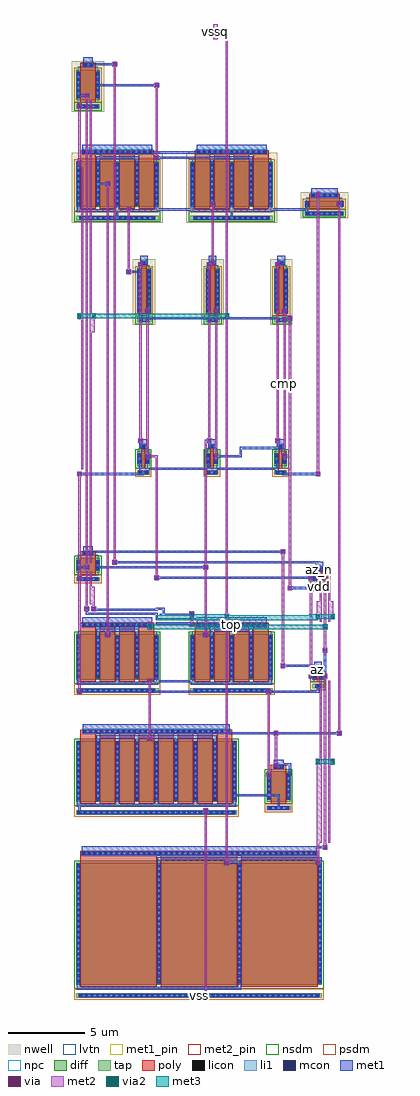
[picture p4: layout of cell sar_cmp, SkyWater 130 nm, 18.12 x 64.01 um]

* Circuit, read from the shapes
.subckt sar_cmp az az_n cmp top vdd vss vssq
XM1 vssq nfet_01v8_lvt_w0p42u_l0p15u_nf1_m1_10/D vssq vss sky130_fd_pr__nfet_01v8 w=8 l=5 m=3
XM2 nfet_01v8_w4u_l1u_nf1_m8_4/D nfet_01v8_w2u_l1u_nf1_m1_13/D vss vss sky130_fd_pr__nfet_01v8 w=4 l=1 m=8
XM3 nfet_01v8_lvt_w3u_l1u_nf1_m4_6/D nfet_01v8_lvt_w0p42u_l0p15u_nf1_m1_10/D nfet_01v8_w4u_l1u_nf1_m8_4/D vss sky130_fd_pr__nfet_01v8_lvt w=3 l=1 m=4
XM4 nfet_01v8_lvt_w1u_l1u_nf1_m1_14/D az top vss sky130_fd_pr__nfet_01v8_lvt w=1 l=1
XM5 nfet_01v8_lvt_w0p42u_l0p15u_nf1_m1_10/S nfet_01v8_lvt_w0p42u_l0p15u_nf1_m1_10/S vss vss sky130_fd_pr__nfet_01v8_lvt w=1 l=0.25
XM6 nfet_01v8_lvt_w1u_l1u_nf1_m1_14/D top nfet_01v8_w4u_l1u_nf1_m8_4/D vss sky130_fd_pr__nfet_01v8_lvt w=3 l=1 m=4
XM7 sar_stage_1_3/in nfet_01v8_lvt_w1u_l1u_nf1_m1_14/D vss vss sky130_fd_pr__nfet_01v8_lvt w=1 l=0.25
XM8 nfet_01v8_w2u_l1u_nf1_m1_13/D nfet_01v8_w2u_l1u_nf1_m1_13/D vss vss sky130_fd_pr__nfet_01v8 w=2 l=1
XM9 cmp sar_stage_1_3/in vss vss sky130_fd_pr__nfet_01v8_lvt w=1 l=0.25
XM10 nfet_01v8_lvt_w0p42u_l0p15u_nf1_m1_10/D az nfet_01v8_lvt_w0p42u_l0p15u_nf1_m1_10/S vss sky130_fd_pr__nfet_01v8_lvt w=0.42 l=0.15
XM11 nfet_01v8_lvt_w3u_l1u_nf1_m4_6/D nfet_01v8_lvt_w3u_l1u_nf1_m4_6/D vdd vdd sky130_fd_pr__pfet_01v8_lvt w=3 l=1 m=4
XM12 nfet_01v8_lvt_w1u_l1u_nf1_m1_14/D az_n top vdd sky130_fd_pr__pfet_01v8_lvt w=2 l=1
XM13 nfet_01v8_lvt_w0p42u_l0p15u_nf1_m1_10/S nfet_01v8_lvt_w0p42u_l0p15u_nf1_m1_10/S vdd vdd sky130_fd_pr__pfet_01v8_lvt w=3 l=0.35
XM14 nfet_01v8_lvt_w1u_l1u_nf1_m1_14/D nfet_01v8_lvt_w3u_l1u_nf1_m4_6/D vdd vdd sky130_fd_pr__pfet_01v8_lvt w=3 l=1 m=4
XM15 sar_stage_1_3/in nfet_01v8_lvt_w1u_l1u_nf1_m1_14/D vdd vdd sky130_fd_pr__pfet_01v8_lvt w=3 l=0.35
XM16 cmp sar_stage_1_3/in vdd vdd sky130_fd_pr__pfet_01v8_lvt w=3 l=0.35
XM17 nfet_01v8_w2u_l1u_nf1_m1_13/D vss vdd vdd sky130_fd_pr__pfet_01v8_lvt w=0.42 l=2
XM18 nfet_01v8_lvt_w0p42u_l0p15u_nf1_m1_10/D az_n nfet_01v8_lvt_w0p42u_l0p15u_nf1_m1_10/S vdd sky130_fd_pr__pfet_01v8_lvt w=0.42 l=0.35
.ends

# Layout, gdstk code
import gdstk
lib = gdstk.Library(unit=1e-6, precision=1e-09)
def R(c, l, rs):  # rectangles x0, y0, x1, y1
    for r in rs: c.add(gdstk.rectangle(r[:2], r[2:], *l))
def A(c, l, x, y, w, h, nx, ny, dx, dy):  # array of equal rectangles
    R(c, l, [(x+i*dx, y+j*dy, x+i*dx+w, y+j*dy+h) for i in range(nx) for j in range(ny)])
nwell = (64, 20)
diff = (65, 20)
tap = (65, 44)
poly = (66, 20)
licon = (66, 44)
li1 = (67, 20)
mcon = (67, 44)
met1_pin = (68, 16)
met1 = (68, 20)
via = (68, 44)
met2_pin = (69, 16)
met2 = (69, 20)
via2 = (69, 44)
met3 = (70, 20)
nsdm = (93, 44)
psdm = (94, 20)
npc = (95, 20)
lvtn = (125, 44)

pfet_01v8_lvt_w2u_l1u_nf = lib.new_cell('pfet_01v8_lvt_w2u_l1u_nf1_m1')
R(pfet_01v8_lvt_w2u_l1u_nf, nwell, [(-0.275,-0.74,1.845,2.56), (-0.18,-0.74,1.75,2.18)])
R(pfet_01v8_lvt_w2u_l1u_nf, diff, [(0,0,1.57,2)])
R(pfet_01v8_lvt_w2u_l1u_nf, tap, [(0,-0.56,1.57,-0.27)])
R(pfet_01v8_lvt_w2u_l1u_nf, poly, [(0.285,-0.13,1.285,2.185), (0.285,2.185,1.285,2.455)])
A(pfet_01v8_lvt_w2u_l1u_nf, licon, 0.16, -0.5, 0.17, 0.17, 4, 1, 0.36, 0)
A(pfet_01v8_lvt_w2u_l1u_nf, licon, 0.06, 0.195, 0.17, 0.17, 1, 5, 0, 0.36)
A(pfet_01v8_lvt_w2u_l1u_nf, licon, 1.34, 0.195, 0.17, 0.17, 1, 5, 0, 0.36)
R(pfet_01v8_lvt_w2u_l1u_nf, licon, [(0.52,2.235,0.69,2.405), (0.88,2.235,1.05,2.405)])
R(pfet_01v8_lvt_w2u_l1u_nf, li1, [(0.08,-0.5,1.49,-0.33), (0.06,0.115,0.23,1.885), (1.34,0.115,1.51,1.885), (0.44,2.235,1.13,2.405)])
A(pfet_01v8_lvt_w2u_l1u_nf, mcon, 0.16, -0.5, 0.17, 0.17, 4, 1, 0.36, 0)
A(pfet_01v8_lvt_w2u_l1u_nf, mcon, 0.06, 0.195, 0.17, 0.17, 1, 5, 0, 0.36)
A(pfet_01v8_lvt_w2u_l1u_nf, mcon, 1.34, 0.195, 0.17, 0.17, 1, 5, 0, 0.36)
R(pfet_01v8_lvt_w2u_l1u_nf, mcon, [(0.52,2.235,0.69,2.405), (0.88,2.235,1.05,2.405)])
R(pfet_01v8_lvt_w2u_l1u_nf, met1_pin, [(0.1,-0.53,1.47,-0.3), (0.03,0.135,0.26,1.865), (1.31,0.135,1.54,1.865), (0.46,2.205,1.11,2.805)])
R(pfet_01v8_lvt_w2u_l1u_nf, met1, [(0.1,-0.53,1.47,-0.3), (0.03,0.135,0.26,1.865), (1.31,0.135,1.54,1.865), (0.46,2.205,1.11,2.805)])
R(pfet_01v8_lvt_w2u_l1u_nf, nsdm, [(-0.125,-0.685,1.695,-0.135)])
R(pfet_01v8_lvt_w2u_l1u_nf, psdm, [(-0.125,-0.135,1.695,2.125)])
R(pfet_01v8_lvt_w2u_l1u_nf, npc, [(0.42,2.135,1.15,2.505)])
R(pfet_01v8_lvt_w2u_l1u_nf, lvtn, [(0.105,-0.18,1.465,2.18)])
pfet_01v8_lvt_w2u_l1u_nf.add(gdstk.Label('B', (0.785,-0.415), layer=68, texttype=16))
pfet_01v8_lvt_w2u_l1u_nf.add(gdstk.Label('G', (0.785,2.505), layer=68, texttype=16))
pfet_01v8_lvt_w2u_l1u_nf.add(gdstk.Label('D', (1.425,1), layer=68, texttype=16))
pfet_01v8_lvt_w2u_l1u_nf.add(gdstk.Label('S', (0.145,1), layer=68, texttype=16))

pfet_01v8_lvt_w0p42u_l2u = lib.new_cell('pfet_01v8_lvt_w0p42u_l2u_nf1_m1')
R(pfet_01v8_lvt_w0p42u_l2u, nwell, [(-0.275,-0.74,2.845,0.98), (-0.18,-0.74,2.75,0.6)])
R(pfet_01v8_lvt_w0p42u_l2u, diff, [(0,0,2.57,0.42)])
R(pfet_01v8_lvt_w0p42u_l2u, tap, [(0,-0.56,2.57,-0.27)])
R(pfet_01v8_lvt_w0p42u_l2u, poly, [(0.285,-0.13,2.285,0.605), (0.285,0.605,2.285,0.875)])
A(pfet_01v8_lvt_w0p42u_l2u, licon, 0.12, -0.5, 0.17, 0.17, 7, 1, 0.36, 0)
A(pfet_01v8_lvt_w0p42u_l2u, licon, 0.48, 0.655, 0.17, 0.17, 5, 1, 0.36, 0)
R(pfet_01v8_lvt_w0p42u_l2u, licon, [(0.06,0.125,0.23,0.295), (2.34,0.125,2.51,0.295)])
R(pfet_01v8_lvt_w0p42u_l2u, li1, [(0.04,-0.5,2.53,-0.33), (0.06,0.045,0.23,0.375), (2.34,0.045,2.51,0.375), (0.4,0.655,2.17,0.825)])
A(pfet_01v8_lvt_w0p42u_l2u, mcon, 0.12, -0.5, 0.17, 0.17, 7, 1, 0.36, 0)
A(pfet_01v8_lvt_w0p42u_l2u, mcon, 0.48, 0.655, 0.17, 0.17, 5, 1, 0.36, 0)
R(pfet_01v8_lvt_w0p42u_l2u, mcon, [(0.06,0.125,0.23,0.295), (2.34,0.125,2.51,0.295)])
R(pfet_01v8_lvt_w0p42u_l2u, met1_pin, [(0.06,-0.53,2.51,-0.3), (0.03,0.025,0.26,0.395), (2.31,0.025,2.54,0.395), (0.42,0.625,2.15,1.225)])
R(pfet_01v8_lvt_w0p42u_l2u, met1, [(0.06,-0.53,2.51,-0.3), (0.03,0.025,0.26,0.395), (2.31,0.025,2.54,0.395), (0.42,0.625,2.15,1.225)])
R(pfet_01v8_lvt_w0p42u_l2u, nsdm, [(-0.125,-0.685,2.695,-0.135)])
R(pfet_01v8_lvt_w0p42u_l2u, psdm, [(-0.125,-0.135,2.695,0.545)])
R(pfet_01v8_lvt_w0p42u_l2u, npc, [(0.38,0.555,2.19,0.925)])
R(pfet_01v8_lvt_w0p42u_l2u, lvtn, [(0.105,-0.18,2.465,0.6)])
pfet_01v8_lvt_w0p42u_l2u.add(gdstk.Label('B', (1.285,-0.415), layer=68, texttype=16))
pfet_01v8_lvt_w0p42u_l2u.add(gdstk.Label('G', (1.285,0.925), layer=68, texttype=16))
pfet_01v8_lvt_w0p42u_l2u.add(gdstk.Label('D', (2.425,0.21), layer=68, texttype=16))
pfet_01v8_lvt_w0p42u_l2u.add(gdstk.Label('S', (0.145,0.21), layer=68, texttype=16))

nfet_01v8_w8u_l5u_nf1_m3 = lib.new_cell('nfet_01v8_w8u_l5u_nf1_m3')
R(nfet_01v8_w8u_l5u_nf1_m3, diff, [(0,0,16.13,8)])
R(nfet_01v8_w8u_l5u_nf1_m3, tap, [(0,-0.86,16.13,-0.57)])
A(nfet_01v8_w8u_l5u_nf1_m3, poly, 0.285, -0.13, 5, 8.59, 3, 1, 5.28, 0)
R(nfet_01v8_w8u_l5u_nf1_m3, poly, [(0.285,8.46,15.845,8.73)])
A(nfet_01v8_w8u_l5u_nf1_m3, licon, 0.24, -0.8, 0.17, 0.17, 44, 1, 0.36, 0)
A(nfet_01v8_w8u_l5u_nf1_m3, licon, 0.06, 0.135, 0.17, 0.17, 4, 22, 5.28, 0.36)
A(nfet_01v8_w8u_l5u_nf1_m3, licon, 0.42, 8.51, 0.17, 0.17, 43, 1, 0.36, 0)
A(nfet_01v8_w8u_l5u_nf1_m3, li1, 0.06, 0.055, 0.17, 7.89, 4, 1, 5.28, 0)
R(nfet_01v8_w8u_l5u_nf1_m3, li1, [(0.16,-0.8,15.97,-0.63), (0.34,8.51,15.79,8.68)])
A(nfet_01v8_w8u_l5u_nf1_m3, mcon, 0.24, -0.8, 0.17, 0.17, 44, 1, 0.36, 0)
A(nfet_01v8_w8u_l5u_nf1_m3, mcon, 0.06, 0.135, 0.17, 0.17, 4, 22, 5.28, 0.36)
A(nfet_01v8_w8u_l5u_nf1_m3, mcon, 0.42, 8.51, 0.17, 0.17, 43, 1, 0.36, 0)
R(nfet_01v8_w8u_l5u_nf1_m3, met1_pin, [(0.18,-0.83,15.95,-0.6), (0.03,-0.34,10.82,-0.14), (5.31,8.14,16.1,8.34), (0.36,8.48,15.77,9.08)])
R(nfet_01v8_w8u_l5u_nf1_m3, met1, [(0.18,-0.83,15.95,-0.6), (0.03,-0.34,10.82,-0.14), (0.03,-0.34,0.26,7.925), (10.59,-0.34,10.82,7.925), (5.31,0.075,5.54,8.34), (15.87,0.075,16.1,8.34), (5.31,8.14,16.1,8.34), (0.36,8.48,15.77,9.08)])
R(nfet_01v8_w8u_l5u_nf1_m3, nsdm, [(-0.125,-0.285,16.255,8.125)])
R(nfet_01v8_w8u_l5u_nf1_m3, psdm, [(-0.125,-0.985,16.255,-0.285)])
R(nfet_01v8_w8u_l5u_nf1_m3, npc, [(0.32,8.41,15.81,8.78)])
nfet_01v8_w8u_l5u_nf1_m3.add(gdstk.Label('B', (8.065,-0.715), layer=68, texttype=16))
nfet_01v8_w8u_l5u_nf1_m3.add(gdstk.Label('G', (8.065,8.78), layer=68, texttype=16))
nfet_01v8_w8u_l5u_nf1_m3.add(gdstk.Label('D', (10.705,8.24), layer=68, texttype=16))
nfet_01v8_w8u_l5u_nf1_m3.add(gdstk.Label('S', (5.425,-0.24), layer=68, texttype=16))

pfet_01v8_lvt_w3u_l0p35u = lib.new_cell('pfet_01v8_lvt_w3u_l0p35u_nf1_m1')
R(pfet_01v8_lvt_w3u_l0p35u, nwell, [(-0.275,-0.74,1.195,3.56), (-0.18,-0.74,1.1,3.18)])
R(pfet_01v8_lvt_w3u_l0p35u, diff, [(0,0,0.92,3)])
R(pfet_01v8_lvt_w3u_l0p35u, tap, [(0,-0.56,0.92,-0.27)])
R(pfet_01v8_lvt_w3u_l0p35u, poly, [(0.285,-0.13,0.635,3.185), (0.285,3.185,0.635,3.455)])
A(pfet_01v8_lvt_w3u_l0p35u, licon, 0.06, 0.155, 0.17, 0.17, 1, 8, 0, 0.36)
A(pfet_01v8_lvt_w3u_l0p35u, licon, 0.69, 0.155, 0.17, 0.17, 1, 8, 0, 0.36)
R(pfet_01v8_lvt_w3u_l0p35u, licon, [(0.195,-0.5,0.365,-0.33), (0.555,-0.5,0.725,-0.33), (0.375,3.235,0.545,3.405)])
R(pfet_01v8_lvt_w3u_l0p35u, li1, [(0.115,-0.5,0.805,-0.33), (0.06,0.075,0.23,2.925), (0.69,0.075,0.86,2.925), (0.295,3.235,0.625,3.405)])
A(pfet_01v8_lvt_w3u_l0p35u, mcon, 0.06, 0.155, 0.17, 0.17, 1, 8, 0, 0.36)
A(pfet_01v8_lvt_w3u_l0p35u, mcon, 0.69, 0.155, 0.17, 0.17, 1, 8, 0, 0.36)
R(pfet_01v8_lvt_w3u_l0p35u, mcon, [(0.195,-0.5,0.365,-0.33), (0.555,-0.5,0.725,-0.33), (0.375,3.235,0.545,3.405)])
R(pfet_01v8_lvt_w3u_l0p35u, met1_pin, [(0.135,-0.53,0.785,-0.3), (0.03,0.095,0.26,2.905), (0.66,0.095,0.89,2.905), (0.21,3.205,0.71,3.805)])
R(pfet_01v8_lvt_w3u_l0p35u, met1, [(0.135,-0.53,0.785,-0.3), (0.03,0.095,0.26,2.905), (0.66,0.095,0.89,2.905), (0.21,3.205,0.71,3.805)])
R(pfet_01v8_lvt_w3u_l0p35u, nsdm, [(-0.125,-0.685,1.045,-0.135)])
R(pfet_01v8_lvt_w3u_l0p35u, psdm, [(-0.125,-0.135,1.045,3.125)])
R(pfet_01v8_lvt_w3u_l0p35u, npc, [(0.275,3.135,0.645,3.505)])
R(pfet_01v8_lvt_w3u_l0p35u, lvtn, [(0.105,-0.18,0.815,3.18)])
pfet_01v8_lvt_w3u_l0p35u.add(gdstk.Label('B', (0.46,-0.415), layer=68, texttype=16))
pfet_01v8_lvt_w3u_l0p35u.add(gdstk.Label('G', (0.46,3.505), layer=68, texttype=16))
pfet_01v8_lvt_w3u_l0p35u.add(gdstk.Label('D', (0.775,1.5), layer=68, texttype=16))
pfet_01v8_lvt_w3u_l0p35u.add(gdstk.Label('S', (0.145,1.5), layer=68, texttype=16))

nfet_01v8_lvt_w1u_l0p25u = lib.new_cell('nfet_01v8_lvt_w1u_l0p25u_nf1_m1')
R(nfet_01v8_lvt_w1u_l0p25u, diff, [(0,0,0.82,1)])
R(nfet_01v8_lvt_w1u_l0p25u, tap, [(0,-0.56,0.82,-0.27)])
R(nfet_01v8_lvt_w1u_l0p25u, poly, [(0.285,-0.13,0.535,1.14), (0.245,1.14,0.575,1.41)])
R(nfet_01v8_lvt_w1u_l0p25u, licon, [(0.145,-0.5,0.315,-0.33), (0.505,-0.5,0.675,-0.33), (0.06,0.235,0.23,0.405), (0.59,0.235,0.76,0.405), (0.06,0.595,0.23,0.765), (0.59,0.595,0.76,0.765), (0.325,1.19,0.495,1.36)])
R(nfet_01v8_lvt_w1u_l0p25u, li1, [(0.065,-0.5,0.755,-0.33), (0.06,0.155,0.23,0.845), (0.59,0.155,0.76,0.845), (0.245,1.19,0.575,1.36)])
R(nfet_01v8_lvt_w1u_l0p25u, mcon, [(0.145,-0.5,0.315,-0.33), (0.505,-0.5,0.675,-0.33), (0.06,0.235,0.23,0.405), (0.59,0.235,0.76,0.405), (0.06,0.595,0.23,0.765), (0.59,0.595,0.76,0.765), (0.325,1.19,0.495,1.36)])
R(nfet_01v8_lvt_w1u_l0p25u, met1_pin, [(0.085,-0.53,0.735,-0.3), (0.03,0.175,0.26,0.825), (0.56,0.175,0.79,0.825), (0.16,1.16,0.66,1.76)])
R(nfet_01v8_lvt_w1u_l0p25u, met1, [(0.085,-0.53,0.735,-0.3), (0.03,0.175,0.26,0.825), (0.56,0.175,0.79,0.825), (0.16,1.16,0.66,1.76)])
R(nfet_01v8_lvt_w1u_l0p25u, nsdm, [(-0.125,-0.135,0.945,1.125)])
R(nfet_01v8_lvt_w1u_l0p25u, psdm, [(-0.125,-0.685,0.945,-0.135)])
R(nfet_01v8_lvt_w1u_l0p25u, npc, [(0.225,1.09,0.595,1.46)])
R(nfet_01v8_lvt_w1u_l0p25u, lvtn, [(0.105,-0.18,0.715,1.18)])
nfet_01v8_lvt_w1u_l0p25u.add(gdstk.Label('B', (0.41,-0.415), layer=68, texttype=16))
nfet_01v8_lvt_w1u_l0p25u.add(gdstk.Label('G', (0.41,1.46), layer=68, texttype=16))
nfet_01v8_lvt_w1u_l0p25u.add(gdstk.Label('D', (0.675,0.5), layer=68, texttype=16))
nfet_01v8_lvt_w1u_l0p25u.add(gdstk.Label('S', (0.145,0.5), layer=68, texttype=16))

sar_stage_1 = lib.new_cell('sar_stage_1')
R(sar_stage_1, met1, [(0.16,-10.44,0.3,-9.96), (0.16,-10.1,0.3,-9.62), (0.53,-9.48,0.85,-9.22), (0.07,-8.46,0.39,-8.2), (0.16,-0.58,0.3,-0.1), (0.16,-0.24,0.3,0.24), (0.53,0.04,0.85,0.3), (0.07,3.1,0.39,3.36)])
R(sar_stage_1, via, [(0.615,-9.425,0.765,-9.275), (0.155,-8.405,0.305,-8.255), (0.615,0.095,0.765,0.245), (0.155,3.155,0.305,3.305)])
R(sar_stage_1, met2, [(0.56,-9.51,0.82,-9.19), (0.62,-9.42,0.76,0.24), (0.1,-8.49,0.36,-8.17), (0.16,-8.4,0.3,3.3), (0.56,0.01,0.82,0.33), (0.1,3.07,0.36,3.39)])
sar_stage_1.add(gdstk.Reference(pfet_01v8_lvt_w3u_l0p35u, (0,0)))
sar_stage_1.add(gdstk.Reference(nfet_01v8_lvt_w1u_l0p25u, (0,-10)))
sar_stage_1.add(gdstk.Label('vss', (0.145,-9.5), layer=67, texttype=16))
sar_stage_1.add(gdstk.Label('vdd', (0.145,1.5), layer=67, texttype=16))
sar_stage_1.add(gdstk.Label('out', (0.675,-9.5), layer=67, texttype=16))
sar_stage_1.add(gdstk.Label('in', (0.41,-8.725), layer=67, texttype=16))

nfet_01v8_w4u_l1u_nf1_m8 = lib.new_cell('nfet_01v8_w4u_l1u_nf1_m8')
R(nfet_01v8_w4u_l1u_nf1_m8, diff, [(0,0,10.53,4)])
R(nfet_01v8_w4u_l1u_nf1_m8, tap, [(0,-0.86,10.53,-0.57)])
A(nfet_01v8_w4u_l1u_nf1_m8, poly, 0.285, -0.13, 1, 4.59, 8, 1, 1.28, 0)
R(nfet_01v8_w4u_l1u_nf1_m8, poly, [(0.285,4.46,10.245,4.73)])
A(nfet_01v8_w4u_l1u_nf1_m8, licon, 0.14, -0.8, 0.17, 0.17, 29, 1, 0.36, 0)
A(nfet_01v8_w4u_l1u_nf1_m8, licon, 0.06, 0.115, 0.17, 0.17, 9, 11, 1.28, 0.36)
A(nfet_01v8_w4u_l1u_nf1_m8, licon, 0.5, 4.51, 0.17, 0.17, 27, 1, 0.36, 0)
A(nfet_01v8_w4u_l1u_nf1_m8, li1, 0.06, 0.035, 0.17, 3.93, 9, 1, 1.28, 0)
R(nfet_01v8_w4u_l1u_nf1_m8, li1, [(0.06,-0.8,10.47,-0.63), (0.42,4.51,10.11,4.68)])
A(nfet_01v8_w4u_l1u_nf1_m8, mcon, 0.14, -0.8, 0.17, 0.17, 29, 1, 0.36, 0)
A(nfet_01v8_w4u_l1u_nf1_m8, mcon, 0.06, 0.115, 0.17, 0.17, 9, 11, 1.28, 0.36)
A(nfet_01v8_w4u_l1u_nf1_m8, mcon, 0.5, 4.51, 0.17, 0.17, 27, 1, 0.36, 0)
R(nfet_01v8_w4u_l1u_nf1_m8, met1_pin, [(0.08,-0.83,10.45,-0.6), (0.03,-0.34,10.5,-0.14), (1.31,4.14,9.22,4.34), (0.44,4.48,10.09,5.08)])
A(nfet_01v8_w4u_l1u_nf1_m8, met1, 0.03, -0.34, 0.23, 4.285, 5, 1, 2.56, 0)
A(nfet_01v8_w4u_l1u_nf1_m8, met1, 1.31, 0.055, 0.23, 4.285, 4, 1, 2.56, 0)
R(nfet_01v8_w4u_l1u_nf1_m8, met1, [(0.08,-0.83,10.45,-0.6), (0.03,-0.34,10.5,-0.14), (1.31,4.14,9.22,4.34), (0.44,4.48,10.09,5.08)])
R(nfet_01v8_w4u_l1u_nf1_m8, nsdm, [(-0.125,-0.285,10.655,4.125)])
R(nfet_01v8_w4u_l1u_nf1_m8, psdm, [(-0.125,-0.985,10.655,-0.285)])
R(nfet_01v8_w4u_l1u_nf1_m8, npc, [(0.4,4.41,10.13,4.78)])
nfet_01v8_w4u_l1u_nf1_m8.add(gdstk.Label('B', (5.265,-0.715), layer=68, texttype=16))
nfet_01v8_w4u_l1u_nf1_m8.add(gdstk.Label('G', (5.265,4.78), layer=68, texttype=16))
nfet_01v8_w4u_l1u_nf1_m8.add(gdstk.Label('D', (5.265,4.24), layer=68, texttype=16))
nfet_01v8_w4u_l1u_nf1_m8.add(gdstk.Label('S', (5.265,-0.24), layer=68, texttype=16))

pfet_01v8_lvt_w3u_l1u_nf = lib.new_cell('pfet_01v8_lvt_w3u_l1u_nf1_m4')
R(pfet_01v8_lvt_w3u_l1u_nf, nwell, [(-0.275,-1.04,5.685,3.56), (-0.18,-1.04,5.59,3.18)])
R(pfet_01v8_lvt_w3u_l1u_nf, diff, [(0,0,5.41,3)])
R(pfet_01v8_lvt_w3u_l1u_nf, tap, [(0,-0.86,5.41,-0.57)])
A(pfet_01v8_lvt_w3u_l1u_nf, poly, 0.285, -0.13, 1, 3.59, 4, 1, 1.28, 0)
R(pfet_01v8_lvt_w3u_l1u_nf, poly, [(0.285,3.46,5.125,3.73)])
A(pfet_01v8_lvt_w3u_l1u_nf, licon, 0.28, -0.8, 0.17, 0.17, 14, 1, 0.36, 0)
A(pfet_01v8_lvt_w3u_l1u_nf, licon, 0.06, 0.155, 0.17, 0.17, 5, 8, 1.28, 0.36)
A(pfet_01v8_lvt_w3u_l1u_nf, licon, 0.46, 3.51, 0.17, 0.17, 13, 1, 0.36, 0)
A(pfet_01v8_lvt_w3u_l1u_nf, li1, 0.06, 0.075, 0.17, 2.85, 5, 1, 1.28, 0)
R(pfet_01v8_lvt_w3u_l1u_nf, li1, [(0.2,-0.8,5.21,-0.63), (0.38,3.51,5.03,3.68)])
A(pfet_01v8_lvt_w3u_l1u_nf, mcon, 0.28, -0.8, 0.17, 0.17, 14, 1, 0.36, 0)
A(pfet_01v8_lvt_w3u_l1u_nf, mcon, 0.06, 0.155, 0.17, 0.17, 5, 8, 1.28, 0.36)
A(pfet_01v8_lvt_w3u_l1u_nf, mcon, 0.46, 3.51, 0.17, 0.17, 13, 1, 0.36, 0)
R(pfet_01v8_lvt_w3u_l1u_nf, met1_pin, [(0.22,-0.83,5.19,-0.6), (0.03,-0.34,5.38,-0.14), (1.31,3.14,4.1,3.34), (0.4,3.48,5.01,4.08)])
A(pfet_01v8_lvt_w3u_l1u_nf, met1, 0.03, -0.34, 0.23, 3.245, 3, 1, 2.56, 0)
R(pfet_01v8_lvt_w3u_l1u_nf, met1, [(0.22,-0.83,5.19,-0.6), (0.03,-0.34,5.38,-0.14), (1.31,0.095,1.54,3.34), (3.87,0.095,4.1,3.34), (1.31,3.14,4.1,3.34), (0.4,3.48,5.01,4.08)])
R(pfet_01v8_lvt_w3u_l1u_nf, nsdm, [(-0.125,-0.985,5.535,-0.285)])
R(pfet_01v8_lvt_w3u_l1u_nf, psdm, [(-0.125,-0.285,5.535,3.125)])
R(pfet_01v8_lvt_w3u_l1u_nf, npc, [(0.36,3.41,5.05,3.78)])
R(pfet_01v8_lvt_w3u_l1u_nf, lvtn, [(0.105,-0.18,5.305,3.18)])
pfet_01v8_lvt_w3u_l1u_nf.add(gdstk.Label('B', (2.705,-0.715), layer=68, texttype=16))
pfet_01v8_lvt_w3u_l1u_nf.add(gdstk.Label('G', (2.705,3.78), layer=68, texttype=16))
pfet_01v8_lvt_w3u_l1u_nf.add(gdstk.Label('D', (2.705,3.24), layer=68, texttype=16))
pfet_01v8_lvt_w3u_l1u_nf.add(gdstk.Label('S', (2.705,-0.24), layer=68, texttype=16))

nfet_01v8_lvt_w3u_l1u_nf = lib.new_cell('nfet_01v8_lvt_w3u_l1u_nf1_m4')
R(nfet_01v8_lvt_w3u_l1u_nf, diff, [(0,0,5.41,3)])
R(nfet_01v8_lvt_w3u_l1u_nf, tap, [(0,-0.86,5.41,-0.57)])
A(nfet_01v8_lvt_w3u_l1u_nf, poly, 0.285, -0.13, 1, 3.59, 4, 1, 1.28, 0)
R(nfet_01v8_lvt_w3u_l1u_nf, poly, [(0.285,3.46,5.125,3.73)])
A(nfet_01v8_lvt_w3u_l1u_nf, licon, 0.28, -0.8, 0.17, 0.17, 14, 1, 0.36, 0)
A(nfet_01v8_lvt_w3u_l1u_nf, licon, 0.06, 0.155, 0.17, 0.17, 5, 8, 1.28, 0.36)
A(nfet_01v8_lvt_w3u_l1u_nf, licon, 0.46, 3.51, 0.17, 0.17, 13, 1, 0.36, 0)
A(nfet_01v8_lvt_w3u_l1u_nf, li1, 0.06, 0.075, 0.17, 2.85, 5, 1, 1.28, 0)
R(nfet_01v8_lvt_w3u_l1u_nf, li1, [(0.2,-0.8,5.21,-0.63), (0.38,3.51,5.03,3.68)])
A(nfet_01v8_lvt_w3u_l1u_nf, mcon, 0.28, -0.8, 0.17, 0.17, 14, 1, 0.36, 0)
A(nfet_01v8_lvt_w3u_l1u_nf, mcon, 0.06, 0.155, 0.17, 0.17, 5, 8, 1.28, 0.36)
A(nfet_01v8_lvt_w3u_l1u_nf, mcon, 0.46, 3.51, 0.17, 0.17, 13, 1, 0.36, 0)
R(nfet_01v8_lvt_w3u_l1u_nf, met1_pin, [(0.22,-0.83,5.19,-0.6), (0.03,-0.34,5.38,-0.14), (1.31,3.14,4.1,3.34), (0.4,3.48,5.01,4.08)])
A(nfet_01v8_lvt_w3u_l1u_nf, met1, 0.03, -0.34, 0.23, 3.245, 3, 1, 2.56, 0)
R(nfet_01v8_lvt_w3u_l1u_nf, met1, [(0.22,-0.83,5.19,-0.6), (0.03,-0.34,5.38,-0.14), (1.31,0.095,1.54,3.34), (3.87,0.095,4.1,3.34), (1.31,3.14,4.1,3.34), (0.4,3.48,5.01,4.08)])
R(nfet_01v8_lvt_w3u_l1u_nf, nsdm, [(-0.125,-0.285,5.535,3.125)])
R(nfet_01v8_lvt_w3u_l1u_nf, psdm, [(-0.125,-0.985,5.535,-0.285)])
R(nfet_01v8_lvt_w3u_l1u_nf, npc, [(0.36,3.41,5.05,3.78)])
R(nfet_01v8_lvt_w3u_l1u_nf, lvtn, [(0.105,-0.18,5.305,3.18)])
nfet_01v8_lvt_w3u_l1u_nf.add(gdstk.Label('B', (2.705,-0.715), layer=68, texttype=16))
nfet_01v8_lvt_w3u_l1u_nf.add(gdstk.Label('G', (2.705,3.78), layer=68, texttype=16))
nfet_01v8_lvt_w3u_l1u_nf.add(gdstk.Label('D', (2.705,3.24), layer=68, texttype=16))
nfet_01v8_lvt_w3u_l1u_nf.add(gdstk.Label('S', (2.705,-0.24), layer=68, texttype=16))

nfet_01v8_lvt_w0p42u_l0p = lib.new_cell('nfet_01v8_lvt_w0p42u_l0p15u_nf1_m1')
R(nfet_01v8_lvt_w0p42u_l0p, diff, [(0,0,0.72,0.42)])
R(nfet_01v8_lvt_w0p42u_l0p, tap, [(0,-0.56,0.72,-0.27)])
R(nfet_01v8_lvt_w0p42u_l0p, poly, [(0.285,-0.13,0.435,0.56), (0.195,0.56,0.525,0.83)])
R(nfet_01v8_lvt_w0p42u_l0p, licon, [(0.275,-0.5,0.445,-0.33), (0.06,0.125,0.23,0.295), (0.49,0.125,0.66,0.295), (0.275,0.61,0.445,0.78)])
R(nfet_01v8_lvt_w0p42u_l0p, li1, [(0.195,-0.5,0.525,-0.33), (0.06,0.045,0.23,0.375), (0.49,0.045,0.66,0.375), (0.195,0.61,0.525,0.78)])
R(nfet_01v8_lvt_w0p42u_l0p, mcon, [(0.275,-0.5,0.445,-0.33), (0.06,0.125,0.23,0.295), (0.49,0.125,0.66,0.295), (0.275,0.61,0.445,0.78)])
R(nfet_01v8_lvt_w0p42u_l0p, met1_pin, [(0.175,-0.53,0.545,-0.3), (0.03,0.025,0.26,0.395), (0.46,0.025,0.69,0.395), (0.11,0.58,0.61,1.18)])
R(nfet_01v8_lvt_w0p42u_l0p, met1, [(0.175,-0.53,0.545,-0.3), (0.03,0.025,0.26,0.395), (0.46,0.025,0.69,0.395), (0.11,0.58,0.61,1.18)])
R(nfet_01v8_lvt_w0p42u_l0p, nsdm, [(-0.125,-0.135,0.845,0.545)])
R(nfet_01v8_lvt_w0p42u_l0p, psdm, [(-0.125,-0.685,0.845,-0.135)])
R(nfet_01v8_lvt_w0p42u_l0p, npc, [(0.175,0.51,0.545,0.88)])
R(nfet_01v8_lvt_w0p42u_l0p, lvtn, [(0.105,-0.18,0.615,0.6)])
nfet_01v8_lvt_w0p42u_l0p.add(gdstk.Label('B', (0.36,-0.415), layer=68, texttype=16))
nfet_01v8_lvt_w0p42u_l0p.add(gdstk.Label('G', (0.36,0.88), layer=68, texttype=16))
nfet_01v8_lvt_w0p42u_l0p.add(gdstk.Label('D', (0.575,0.21), layer=68, texttype=16))
nfet_01v8_lvt_w0p42u_l0p.add(gdstk.Label('S', (0.145,0.21), layer=68, texttype=16))

pin_met2_w0p3u_l1u = lib.new_cell('pin_met2_w0p3u_l1u')
R(pin_met2_w0p3u_l1u, met2_pin, [(0,0,0.3,1)])
R(pin_met2_w0p3u_l1u, met2, [(0,0,0.3,1)])
pin_met2_w0p3u_l1u.add(gdstk.Label('P', (0.15,0.5), layer=69, texttype=16))

pfet_01v8_lvt_w0p42u_l0p = lib.new_cell('pfet_01v8_lvt_w0p42u_l0p35u_nf1_m1')
R(pfet_01v8_lvt_w0p42u_l0p, nwell, [(-0.275,-0.74,1.195,0.98), (-0.18,-0.74,1.1,0.6)])
R(pfet_01v8_lvt_w0p42u_l0p, diff, [(0,0,0.92,0.42)])
R(pfet_01v8_lvt_w0p42u_l0p, tap, [(0,-0.56,0.92,-0.27)])
R(pfet_01v8_lvt_w0p42u_l0p, poly, [(0.285,-0.13,0.635,0.605), (0.285,0.605,0.635,0.875)])
R(pfet_01v8_lvt_w0p42u_l0p, licon, [(0.195,-0.5,0.365,-0.33), (0.555,-0.5,0.725,-0.33), (0.06,0.125,0.23,0.295), (0.69,0.125,0.86,0.295), (0.375,0.655,0.545,0.825)])
R(pfet_01v8_lvt_w0p42u_l0p, li1, [(0.115,-0.5,0.805,-0.33), (0.06,0.045,0.23,0.375), (0.69,0.045,0.86,0.375), (0.295,0.655,0.625,0.825)])
R(pfet_01v8_lvt_w0p42u_l0p, mcon, [(0.195,-0.5,0.365,-0.33), (0.555,-0.5,0.725,-0.33), (0.06,0.125,0.23,0.295), (0.69,0.125,0.86,0.295), (0.375,0.655,0.545,0.825)])
R(pfet_01v8_lvt_w0p42u_l0p, met1_pin, [(0.135,-0.53,0.785,-0.3), (0.03,0.025,0.26,0.395), (0.66,0.025,0.89,0.395), (0.21,0.625,0.71,1.225)])
R(pfet_01v8_lvt_w0p42u_l0p, met1, [(0.135,-0.53,0.785,-0.3), (0.03,0.025,0.26,0.395), (0.66,0.025,0.89,0.395), (0.21,0.625,0.71,1.225)])
R(pfet_01v8_lvt_w0p42u_l0p, nsdm, [(-0.125,-0.685,1.045,-0.135)])
R(pfet_01v8_lvt_w0p42u_l0p, psdm, [(-0.125,-0.135,1.045,0.545)])
R(pfet_01v8_lvt_w0p42u_l0p, npc, [(0.275,0.555,0.645,0.925)])
R(pfet_01v8_lvt_w0p42u_l0p, lvtn, [(0.105,-0.18,0.815,0.6)])
pfet_01v8_lvt_w0p42u_l0p.add(gdstk.Label('B', (0.46,-0.415), layer=68, texttype=16))
pfet_01v8_lvt_w0p42u_l0p.add(gdstk.Label('G', (0.46,0.925), layer=68, texttype=16))
pfet_01v8_lvt_w0p42u_l0p.add(gdstk.Label('D', (0.775,0.21), layer=68, texttype=16))
pfet_01v8_lvt_w0p42u_l0p.add(gdstk.Label('S', (0.145,0.21), layer=68, texttype=16))

nfet_01v8_w2u_l1u_nf1_m1 = lib.new_cell('nfet_01v8_w2u_l1u_nf1_m1')
R(nfet_01v8_w2u_l1u_nf1_m1, diff, [(0,0,1.57,2)])
R(nfet_01v8_w2u_l1u_nf1_m1, tap, [(0,-0.56,1.57,-0.27)])
R(nfet_01v8_w2u_l1u_nf1_m1, poly, [(0.285,-0.13,1.285,2.14), (0.285,2.14,1.285,2.41)])
A(nfet_01v8_w2u_l1u_nf1_m1, licon, 0.16, -0.5, 0.17, 0.17, 4, 1, 0.36, 0)
A(nfet_01v8_w2u_l1u_nf1_m1, licon, 0.06, 0.195, 0.17, 0.17, 1, 5, 0, 0.36)
A(nfet_01v8_w2u_l1u_nf1_m1, licon, 1.34, 0.195, 0.17, 0.17, 1, 5, 0, 0.36)
R(nfet_01v8_w2u_l1u_nf1_m1, licon, [(0.52,2.19,0.69,2.36), (0.88,2.19,1.05,2.36)])
R(nfet_01v8_w2u_l1u_nf1_m1, li1, [(0.08,-0.5,1.49,-0.33), (0.06,0.115,0.23,1.885), (1.34,0.115,1.51,1.885), (0.44,2.19,1.13,2.36)])
A(nfet_01v8_w2u_l1u_nf1_m1, mcon, 0.16, -0.5, 0.17, 0.17, 4, 1, 0.36, 0)
A(nfet_01v8_w2u_l1u_nf1_m1, mcon, 0.06, 0.195, 0.17, 0.17, 1, 5, 0, 0.36)
A(nfet_01v8_w2u_l1u_nf1_m1, mcon, 1.34, 0.195, 0.17, 0.17, 1, 5, 0, 0.36)
R(nfet_01v8_w2u_l1u_nf1_m1, mcon, [(0.52,2.19,0.69,2.36), (0.88,2.19,1.05,2.36)])
R(nfet_01v8_w2u_l1u_nf1_m1, met1_pin, [(0.1,-0.53,1.47,-0.3), (0.03,0.135,0.26,1.865), (1.31,0.135,1.54,1.865), (0.46,2.16,1.11,2.76)])
R(nfet_01v8_w2u_l1u_nf1_m1, met1, [(0.1,-0.53,1.47,-0.3), (0.03,0.135,0.26,1.865), (1.31,0.135,1.54,1.865), (0.46,2.16,1.11,2.76)])
R(nfet_01v8_w2u_l1u_nf1_m1, nsdm, [(-0.125,-0.135,1.695,2.125)])
R(nfet_01v8_w2u_l1u_nf1_m1, psdm, [(-0.125,-0.685,1.695,-0.135)])
R(nfet_01v8_w2u_l1u_nf1_m1, npc, [(0.42,2.09,1.15,2.46)])
nfet_01v8_w2u_l1u_nf1_m1.add(gdstk.Label('B', (0.785,-0.415), layer=68, texttype=16))
nfet_01v8_w2u_l1u_nf1_m1.add(gdstk.Label('G', (0.785,2.46), layer=68, texttype=16))
nfet_01v8_w2u_l1u_nf1_m1.add(gdstk.Label('D', (1.425,1), layer=68, texttype=16))
nfet_01v8_w2u_l1u_nf1_m1.add(gdstk.Label('S', (0.145,1), layer=68, texttype=16))

nfet_01v8_lvt_w1u_l1u_nf = lib.new_cell('nfet_01v8_lvt_w1u_l1u_nf1_m1')
R(nfet_01v8_lvt_w1u_l1u_nf, diff, [(0,0,1.57,1)])
R(nfet_01v8_lvt_w1u_l1u_nf, tap, [(0,-0.56,1.57,-0.27)])
R(nfet_01v8_lvt_w1u_l1u_nf, poly, [(0.285,-0.13,1.285,1.14), (0.285,1.14,1.285,1.41)])
A(nfet_01v8_lvt_w1u_l1u_nf, licon, 0.16, -0.5, 0.17, 0.17, 4, 1, 0.36, 0)
R(nfet_01v8_lvt_w1u_l1u_nf, licon, [(0.06,0.235,0.23,0.405), (1.34,0.235,1.51,0.405), (0.06,0.595,0.23,0.765), (1.34,0.595,1.51,0.765), (0.52,1.19,0.69,1.36), (0.88,1.19,1.05,1.36)])
R(nfet_01v8_lvt_w1u_l1u_nf, li1, [(0.08,-0.5,1.49,-0.33), (0.06,0.155,0.23,0.845), (1.34,0.155,1.51,0.845), (0.44,1.19,1.13,1.36)])
A(nfet_01v8_lvt_w1u_l1u_nf, mcon, 0.16, -0.5, 0.17, 0.17, 4, 1, 0.36, 0)
R(nfet_01v8_lvt_w1u_l1u_nf, mcon, [(0.06,0.235,0.23,0.405), (1.34,0.235,1.51,0.405), (0.06,0.595,0.23,0.765), (1.34,0.595,1.51,0.765), (0.52,1.19,0.69,1.36), (0.88,1.19,1.05,1.36)])
R(nfet_01v8_lvt_w1u_l1u_nf, met1_pin, [(0.1,-0.53,1.47,-0.3), (0.03,0.175,0.26,0.825), (1.31,0.175,1.54,0.825), (0.46,1.16,1.11,1.76)])
R(nfet_01v8_lvt_w1u_l1u_nf, met1, [(0.1,-0.53,1.47,-0.3), (0.03,0.175,0.26,0.825), (1.31,0.175,1.54,0.825), (0.46,1.16,1.11,1.76)])
R(nfet_01v8_lvt_w1u_l1u_nf, nsdm, [(-0.125,-0.135,1.695,1.125)])
R(nfet_01v8_lvt_w1u_l1u_nf, psdm, [(-0.125,-0.685,1.695,-0.135)])
R(nfet_01v8_lvt_w1u_l1u_nf, npc, [(0.42,1.09,1.15,1.46)])
R(nfet_01v8_lvt_w1u_l1u_nf, lvtn, [(0.105,-0.18,1.465,1.18)])
nfet_01v8_lvt_w1u_l1u_nf.add(gdstk.Label('B', (0.785,-0.415), layer=68, texttype=16))
nfet_01v8_lvt_w1u_l1u_nf.add(gdstk.Label('G', (0.785,1.46), layer=68, texttype=16))
nfet_01v8_lvt_w1u_l1u_nf.add(gdstk.Label('D', (1.425,0.5), layer=68, texttype=16))
nfet_01v8_lvt_w1u_l1u_nf.add(gdstk.Label('S', (0.145,0.5), layer=68, texttype=16))

sar_cmp = lib.new_cell('sar_cmp')
A(sar_cmp, met1, 4.67, 16.02, 0.32, 0.26, 1, 3, 0, 3.74)
A(sar_cmp, met1, 4.16, 33.73, 0.14, 0.17, 3, 1, 4.5, 0)
R(sar_cmp, met1, [(8.35,-0.98,8.67,-0.72), (7.995,-0.92,8.58,-0.78), (7.995,-0.92,8.135,-0.645), (10.635,7.58,10.88,7.72), (10.635,7.58,10.775,8.31), (9.73,7.86,10.05,8.12), (15.71,7.86,16.03,8.12), (10.635,7.875,10.775,8.06), (9.82,7.92,10.775,8.06), (9.82,8.06,10.775,8.14), (9.82,8.06,10.775,8.14), (9.82,8.06,10.775,8.14), (9.73,8.12,10.05,8.14), (9.73,8.12,10.05,8.14), (9.73,8.12,10.05,8.14), (15.71,8.12,16.03,8.14), (15.71,8.12,16.03,8.14), (15.71,8.12,16.03,8.14), (16.17,8.88,16.49,9.14), (15.34,8.94,16.4,9.08), (8.35,11.26,8.67,11.52), (0.16,11.32,0.3,11.8), (13.215,11.515,13.355,12.48), (10.28,12.34,12.72,12.48), (12.58,12.34,13.18,12.48), (13.04,12.34,13.355,12.48), (12.49,13.64,12.81,13.9), (13.96,13.7,14.1,14.18), (13.96,14.04,14.1,14.52), (12.95,14.32,13.27,14.58), (13.5,14.38,14.1,14.52), (12.95,16.36,13.27,16.62), (17.09,16.36,17.41,16.62), (9.82,16.42,13.18,16.56), (13.04,16.42,17.32,16.56), (0.07,19.08,0.39,19.34), (12.49,19.08,12.81,19.34), (4.76,19.14,8.12,19.28), (12.58,19.14,15.94,19.28), (15.8,19.14,15.94,19.62), (4.76,19.82,5.36,19.96), (5.22,19.82,7.66,19.96), (15.25,20.1,15.57,20.36), (16.17,20.1,16.49,20.36), (15.575,20.14,15.715,20.3), (16.005,20.14,16.4,20.28), (16.19,20.14,16.26,20.395), (16.19,20.14,16.26,20.395), (16.19,20.14,16.26,20.395), (16.26,20.14,16.4,22), (15.34,20.16,15.715,20.3), (13.41,20.78,13.73,21.04), (13.5,20.84,15.94,20.98), (16.17,21.8,16.49,22.06), (1.91,22.82,2.23,23.08), (8.35,22.82,8.67,23.08), (2,22.88,2.14,23.31), (8.44,22.88,9.04,23.02), (1.91,23.08,2.23,23.14), (1.91,23.08,2.23,23.14), (1.91,23.08,2.23,23.14), (2,23.08,2.23,23.17), (2,23.08,2.23,23.17), (2,23.17,2.775,23.31), (7.43,23.5,7.75,23.76), (5.22,23.62,7.76,23.76), (5.22,23.9,5.36,24.38), (5.22,23.9,8.12,24.04), (5.5,24.18,7.76,24.32), (7.43,24.18,7.75,24.44), (0.62,24.24,5.36,24.38), (0.62,24.24,0.76,24.72), (5.68,24.24,5.82,24.72), (0.53,24.52,0.85,24.78), (0.99,24.52,5.36,24.66), (0.99,24.52,1.31,24.78), (5.22,24.58,5.82,24.72), (13.87,25.88,14.19,26.14), (13.96,25.94,15.94,26.08), (0.07,26.56,0.39,26.82), (5.13,26.56,5.45,26.82), (15.25,26.56,15.57,26.82), (16.17,26.56,16.49,26.82), (5.22,26.62,15.48,26.76), (15.34,26.62,15.715,26.76), (15.575,26.62,15.715,26.78), (0.53,27.24,0.85,27.5), (8.35,27.24,8.67,27.5), (0.16,27.3,0.76,27.44), (1.355,27.3,3.06,27.44), (1.355,27.3,1.495,27.57), (2.92,27.3,8.58,27.44), (2.37,27.58,2.69,27.84), (2.46,27.64,15.94,27.78), (13.41,28.26,13.73,28.52), (0.62,28.32,13.64,28.46), (0.07,33.36,0.39,33.62), (15.71,33.36,16.03,33.62), (0.16,33.42,4.44,33.56), (13.5,33.42,15.94,33.56), (4.16,33.7,4.735,33.76), (4.16,33.7,4.735,33.76), (8.585,33.7,8.8,33.76), (8.585,33.7,8.8,33.76), (8.66,33.7,9.235,33.76), (8.66,33.7,9.235,33.76), (13.085,33.7,13.3,33.76), (13.085,33.7,13.3,33.76), (13.085,33.7,13.18,33.76), (13.085,33.7,13.18,33.76), (8.66,33.745,8.8,33.9), (4.16,33.76,5.36,33.9), (5.22,33.76,8.58,33.9), (8.44,33.76,8.8,33.9), (8.66,33.76,9.96,33.9), (9.82,33.76,13.18,33.9), (13.04,33.76,13.3,33.9), (4.62,34.58,4.76,35.26), (9.12,34.58,10.88,34.72), (10.74,34.58,10.88,35.26), (4.3,35.12,4.76,35.26), (10.74,35.12,13.64,35.26), (13.785,43.56,13.87,43.7), (13.785,43.56,13.87,43.7), (13.87,43.56,14.19,43.82), (8.66,43.59,8.8,43.76), (13.16,43.59,13.3,43.76), (4.3,43.62,7.66,43.76), (7.52,43.62,8.8,43.76), (8.8,43.62,8.9,43.76), (8.9,43.62,12.26,43.76), (12.12,43.62,13.3,43.76), (13.5,43.62,14.1,43.76), (4.075,45.43,4.215,46.82), (3.29,46.62,3.61,46.88), (3.38,46.68,3.98,46.82), (3.84,46.68,4.215,46.82), (2.635,50.215,2.775,50.9), (10.135,50.215,10.275,50.9), (15.075,50.42,15.48,50.56), (15.075,50.42,15.215,51.28), (3.29,50.7,3.61,50.96), (15.06,50.7,15.215,50.76), (15.06,50.7,15.215,50.76), (15.06,50.7,15.215,50.76), (2.46,50.76,2.775,50.9), (5.22,50.76,7.66,50.9), (10.135,50.76,10.42,50.9), (12.58,50.76,15.02,50.9), (14.88,50.76,15.215,50.9), (15.075,50.76,15.215,50.92), (15.03,50.9,15.215,51.025), (15.03,50.9,15.215,51.025), (15.03,50.9,15.215,51.025), (8.81,51.04,9.13,51.3), (17.09,51.04,17.41,51.3), (17.18,51.1,17.495,51.24), (17.355,51.1,17.495,51.28), (15.71,51.72,16.03,51.98), (1.91,52.4,2.23,52.66), (1.355,52.46,2.14,52.6), (1.355,52.46,1.495,52.785), (0.07,53.76,0.39,54.02), (5.13,54.1,5.45,54.36), (1.54,54.16,1.68,54.64), (5.22,54.16,9.04,54.3), (4.76,54.5,8.12,54.64), (0.07,57.5,0.39,57.76), (0.53,58.18,0.85,58.44), (0.16,58.24,0.76,58.38), (5.13,58.86,5.45,59.12), (1.355,58.92,1.495,59.07), (1.355,58.92,2.6,59.06), (2.46,58.92,5.36,59.06), (2.37,60.22,2.69,60.48), (0.62,60.28,2.6,60.42)])
A(sar_cmp, via, 4.755, 16.075, 0.15, 0.15, 1, 3, 0, 3.74)
R(sar_cmp, via, [(8.435,-0.925,8.585,-0.775), (9.815,7.915,9.965,8.065), (15.795,7.915,15.945,8.065), (16.255,8.935,16.405,9.085), (8.435,11.315,8.585,11.465), (12.575,13.695,12.725,13.845), (13.035,14.375,13.185,14.525), (13.035,16.415,13.185,16.565), (17.175,16.415,17.325,16.565), (0.155,19.135,0.305,19.285), (12.575,19.135,12.725,19.285), (15.335,20.155,15.485,20.305), (16.255,20.155,16.405,20.305), (13.495,20.835,13.645,20.985), (16.255,21.855,16.405,22.005), (1.995,22.875,2.145,23.025), (8.435,22.875,8.585,23.025), (7.515,23.555,7.665,23.705), (7.515,24.235,7.665,24.385), (0.615,24.575,0.765,24.725), (1.075,24.575,1.225,24.725), (13.955,25.935,14.105,26.085), (0.155,26.615,0.305,26.765), (5.215,26.615,5.365,26.765), (15.335,26.615,15.485,26.765), (16.255,26.615,16.405,26.765), (0.615,27.295,0.765,27.445), (8.435,27.295,8.585,27.445), (2.455,27.635,2.605,27.785), (13.495,28.315,13.645,28.465), (0.155,33.415,0.305,33.565), (15.795,33.415,15.945,33.565), (13.955,43.615,14.105,43.765), (3.375,46.675,3.525,46.825), (3.375,50.755,3.525,50.905), (8.895,51.095,9.045,51.245), (17.175,51.095,17.325,51.245), (15.795,51.775,15.945,51.925), (1.995,52.455,2.145,52.605), (0.155,53.815,0.305,53.965), (5.215,54.155,5.365,54.305), (0.155,57.555,0.305,57.705), (0.615,58.235,0.765,58.385), (5.215,58.915,5.365,59.065), (2.455,60.275,2.605,60.425)])
A(sar_cmp, met2, 15.94, 9.96, 0.04, 0.48, 1, 5, 0, 0.68)
A(sar_cmp, met2, 4.7, 15.99, 0.26, 0.32, 1, 3, 0, 3.74)
R(sar_cmp, met2, [(8.38,-1.01,8.64,-0.69), (8.44,-0.92,8.58,11.46), (9.76,7.83,10.02,8.15), (15.74,7.83,16,8.15), (9.82,7.92,9.96,62.46), (15.8,7.92,15.94,13.33), (16.2,8.85,16.46,9.17), (16.26,8.94,16.4,20.3), (15.94,9.295,15.98,9.435), (15.94,9.31,15.98,9.76), (15.98,9.31,16.12,19.93), (16.54,9.31,16.68,19.93), (15.94,9.62,15.98,9.93), (15.94,9.79,15.98,10.1), (15.94,10.3,15.98,10.61), (15.94,10.47,15.98,10.78), (15.94,10.98,15.98,11.29), (15.94,11.15,15.98,11.46), (8.38,11.23,8.64,11.55), (15.94,11.66,15.98,11.97), (15.94,11.83,15.98,12.14), (15.94,12.34,15.98,12.65), (15.94,12.51,15.98,12.82), (15.94,13.02,15.98,13.33), (15.8,13.19,15.94,14.69), (15.94,13.19,15.98,14.69), (12.52,13.61,12.78,13.93), (12.58,13.7,12.72,19.28), (12.98,14.29,13.24,14.61), (13.04,14.38,13.18,16.56), (15.73,14.435,16.01,14.805), (16.65,14.435,16.93,14.805), (15.8,14.55,16.12,14.69), (16.54,14.55,16.86,14.69), (4.76,16.08,4.9,19.96), (12.98,16.33,13.24,16.65), (17.12,16.33,17.38,16.65), (17.18,16.42,17.32,51.24), (0.1,19.05,0.36,19.37), (12.52,19.05,12.78,19.37), (0.16,19.14,0.3,26.76), (15.28,20.07,15.54,20.39), (16.2,20.07,16.46,20.39), (15.34,20.16,15.48,26.76), (13.44,20.75,13.7,21.07), (13.5,20.84,13.64,28.46), (16.2,21.77,16.46,22.09), (16.26,21.86,16.4,26.76), (1.94,22.79,2.2,23.11), (8.38,22.79,8.64,23.11), (2,22.88,2.14,52.6), (8.44,22.88,8.58,27.44), (4.69,23.275,4.97,23.645), (16.19,23.275,16.47,23.645), (4.76,23.39,4.9,23.7), (7.46,23.47,7.72,23.79), (7.52,23.56,7.66,24.21), (15.98,23.785,16.12,26.39), (16.54,23.785,16.68,26.39), (7.45,23.955,7.73,24.325), (9.75,23.955,10.03,24.325), (15.73,23.955,16.01,24.325), (16.65,23.955,16.93,24.325), (15.8,24.07,15.94,25.155), (15.94,24.07,15.98,25.155), (16.68,24.07,16.72,25.155), (16.72,24.07,16.86,25.155), (7.46,24.15,7.72,24.47), (0.56,24.49,0.82,24.81), (1.02,24.49,1.28,24.81), (0.62,24.58,0.76,27.44), (1.08,24.58,1.22,26.08), (0.9,24.95,1.04,27.07), (1.04,24.95,1.08,26.08), (15.8,25.015,16.12,25.155), (16.54,25.015,16.86,25.155), (13.9,25.85,14.16,26.17), (0.9,25.94,1.22,26.08), (13.96,25.94,14.1,43.76), (0.1,26.53,0.36,26.85), (5.16,26.53,5.42,26.85), (15.28,26.53,15.54,26.85), (16.2,26.53,16.46,26.85), (0.16,26.62,0.3,33.56), (5.22,26.62,5.36,34.58), (0.56,27.21,0.82,27.53), (8.38,27.21,8.64,27.53), (0.62,27.3,0.76,58.38), (8.44,27.3,8.58,35.6), (2.4,27.55,2.66,27.87), (2.46,27.64,2.6,60.42), (0.9,27.67,1.04,58.01), (13.44,28.23,13.7,28.55), (0.1,33.33,0.36,33.65), (15.74,33.33,16,33.65), (15.8,33.42,15.94,51.92), (0.34,33.79,0.48,53.59), (5.22,34.44,5.36,34.72), (4.62,34.58,5.36,34.72), (8.44,35.46,8.58,35.74), (8.58,35.51,8.6,35.6), (8.58,35.51,8.6,35.74), (8.44,35.6,8.8,35.74), (0.9,42.77,1.22,42.91), (1.04,42.77,1.08,43.93), (1.08,42.77,1.22,43.93), (13.9,43.53,14.16,43.85), (0.16,43.62,0.48,43.76), (0.16,43.62,0.3,43.93), (0.09,43.675,0.37,44.045), (1.01,43.675,1.29,44.045), (9.75,43.675,10.03,44.045), (3.32,46.59,3.58,46.91), (3.38,46.68,3.52,50.9), (8.66,47.16,9.04,47.3), (8.86,47.16,8.9,47.39), (8.9,47.16,9.04,48.18), (8.9,48.04,9.04,51.24), (3.32,50.67,3.58,50.99), (8.84,51.01,9.1,51.33), (17.12,51.01,17.38,51.33), (15.74,51.69,16,52.01), (1.94,52.37,2.2,52.69), (0.1,53.73,0.36,54.05), (0.16,53.82,0.3,57.7), (5.16,54.07,5.42,54.39), (5.22,54.16,5.36,59.06), (0.1,57.47,0.36,57.79), (0.56,58.15,0.82,58.47), (5.16,58.83,5.42,59.15), (2.4,60.19,2.66,60.51), (9.82,62.32,9.96,62.57), (9.08,62.43,9.96,62.57)])
R(sar_cmp, via2, [(15.77,14.52,15.97,14.72), (16.69,14.52,16.89,14.72), (4.73,23.36,4.93,23.56), (16.23,23.36,16.43,23.56), (7.49,24.04,7.69,24.24), (9.79,24.04,9.99,24.24), (15.77,24.04,15.97,24.24), (16.69,24.04,16.89,24.24), (0.13,43.76,0.33,43.96), (1.05,43.76,1.25,43.96), (9.79,43.76,9.99,43.96)])
R(sar_cmp, met3, [(15.705,14.455,16.035,14.785), (16.625,14.455,16.955,14.785), (15.72,14.47,16.94,14.77), (4.665,23.295,4.995,23.625), (16.165,23.295,16.495,23.625), (4.68,23.31,16.48,23.61), (5.295,23.91,15.865,24.21), (7.425,23.975,7.755,24.305), (9.725,23.975,10.055,24.305), (15.705,23.975,16.035,24.305), (16.625,23.975,16.955,24.305), (7.44,23.99,10.04,24.29), (15.26,23.99,16.02,24.29), (15.72,23.99,16.94,24.29), (0.065,43.695,0.395,44.025), (0.985,43.695,1.315,44.025), (9.725,43.695,10.055,44.025), (0.08,43.71,10.04,44.01)])
sar_cmp.add(gdstk.Reference(pfet_01v8_lvt_w2u_l1u_nf, (0,58)))
sar_cmp.add(gdstk.Reference(pfet_01v8_lvt_w0p42u_l2u, (15,51)))
sar_cmp.add(gdstk.Reference(nfet_01v8_w8u_l5u_nf1_m3, (0,0)))
sar_cmp.add(gdstk.Reference(sar_stage_1, (13,44)))
sar_cmp.add(gdstk.Reference(nfet_01v8_w4u_l1u_nf1_m8, (0,12)))
sar_cmp.add(gdstk.Reference(pfet_01v8_lvt_w3u_l1u_nf, (7.5,51)))
sar_cmp.add(gdstk.Reference(nfet_01v8_lvt_w3u_l1u_nf, (0,20)))
sar_cmp.add(gdstk.Reference(sar_stage_1, (4,44)))
sar_cmp.add(gdstk.Reference(sar_stage_1, (8.5,44)))
sar_cmp.add(gdstk.Reference(nfet_01v8_lvt_w3u_l1u_nf, (7.5,20)))
sar_cmp.add(gdstk.Reference(nfet_01v8_lvt_w0p42u_l0p, (15.5,20)))
sar_cmp.add(gdstk.Reference(pin_met2_w0p3u_l1u, (9,62)))
sar_cmp.add(gdstk.Reference(pfet_01v8_lvt_w0p42u_l0p, (15.5,26.5)))
sar_cmp.add(gdstk.Reference(nfet_01v8_w2u_l1u_nf1_m1, (12.5,12)))
sar_cmp.add(gdstk.Reference(nfet_01v8_lvt_w1u_l1u_nf, (0,27)))
sar_cmp.add(gdstk.Reference(pfet_01v8_lvt_w3u_l1u_nf, (0,51)))
sar_cmp.add(gdstk.Label('vss', (8.065,-0.715), layer=67, texttype=16))
sar_cmp.add(gdstk.Label('vdd', (15.96,26.085), layer=67, texttype=16))
sar_cmp.add(gdstk.Label('az_n', (15.96,27.24), layer=67, texttype=16))
sar_cmp.add(gdstk.Label('az', (15.86,20.695), layer=67, texttype=16))
sar_cmp.add(gdstk.Label('top', (10.205,23.595), layer=67, texttype=16))
sar_cmp.add(gdstk.Label('vssq', (9.15,62.5), layer=69, texttype=16))
sar_cmp.add(gdstk.Label('cmp', (13.69,39.41), layer=69, texttype=16))

lib.write_gds('sar_cmp.gds')
